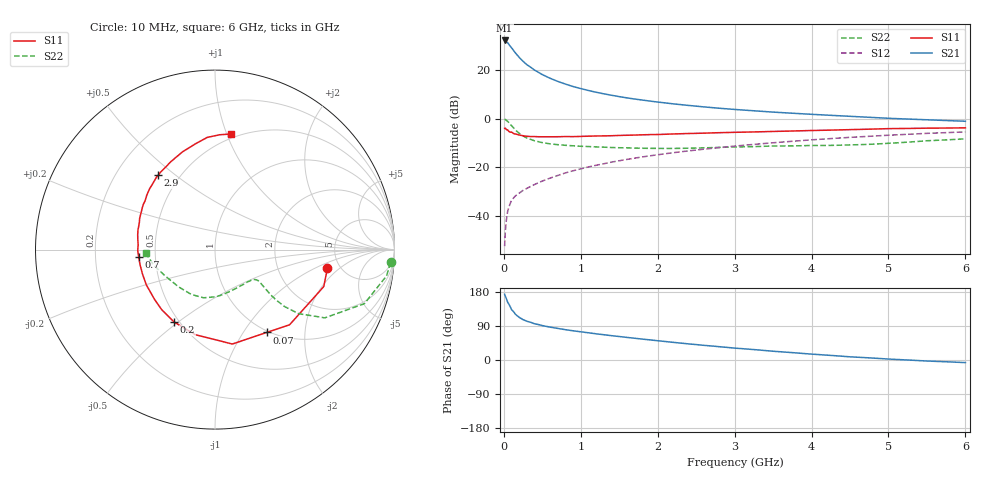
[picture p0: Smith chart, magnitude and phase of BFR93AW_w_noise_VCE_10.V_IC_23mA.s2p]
! Infineon Technologies  Discrete & RF Semiconductors
! BFR93AW
! VCE =  10. V,  IC =  23 mA
! Common Emitter S-Parameters:  Jan 2017
# GHz  S  MA  R  50
!  f  S11  S21  S12  S22
! GHz  MAG  ANG  MAG  ANG  MAG  ANG  MAG  ANG
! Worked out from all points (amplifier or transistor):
!   77 points, 10 MHz to 6 GHz, reference 50 ohm
!   highest |S21| = 32.2 dB at 10 MHz (marker M1)
!   |S21| within 3 dB of that: start of sweep to 100 MHz
!   unconditionally stable (mu >= 1): 669.5 MHz to 2.078 GHz
!   at 130 MHz: K = 0.45, MSG = 30.2 dB, |S12| = -32.4 dB
!   at 2.2 GHz: K = 0.99, MSG = 10.1 dB, |S12| = -14.0 dB
!   at 6 GHz: K = 0.86, MSG = 2.2 dB, |S12| = -5.4 dB
!   lowest NFmin = 1.60 dB at 450 MHz
!   S11 on the Smith chart (normalised r, x): 10 MHz: 3.97, -1.38; 70 MHz: 0.98, -1.28; 200 MHz: 0.47, -0.48; 700 MHz: 0.40, -0.04; 2.9 GHz: 0.38, +0.43; 6 GHz: 0.46, +1.04
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0.01  0.6352 -9.4  40.76 173.5  0.0024 84.2  0.9807 -4.2
0.02  0.6399 -18.8  40.49 168.1  0.005 83.8  0.9671 -8.7
0.05  0.59 -45.2  36.55 152.4  0.0126 73.2  0.8854 -19.9
0.07  0.5441 -58.0  33.04 145.8  0.0159 67.3  0.8151 -24.1
0.1  0.5349 -79.6  28.85 133.1  0.021 62.0  0.7198 -31.9
0.15  0.4865 -103.1  22.63 120.8  0.0259 57.5  0.5885 -37.4
0.2  0.4632 -119.5  18.24 112.5  0.0296 58.1  0.5009 -39.3
0.25  0.4476 -131.5  15.2 106.5  0.0337 57.6  0.4431 -39.5
0.3  0.4364 -140.5  12.92 102.2  0.0371 59.3  0.401 -39.1
0.4  0.4302 -153.0  9.987 95.6  0.0445 61.9  0.3518 -37.7
0.5  0.4262 -161.9  8.091 90.8  0.0524 64.1  0.3231 -36.6
0.6  0.426 -169.2  6.814 86.8  0.0602 65.7  0.3052 -36.0
0.7  0.4271 -174.4  5.873 83.4  0.0681 67.6  0.2935 -35.7
0.9  0.429 176.4  4.603 77.1  0.0852 68.2  0.278 -36.9
1.1  0.4384 169.2  3.815 71.8  0.1021 68.6  0.2683 -39.1
1.5  0.4542 157.6  2.851 62.0  0.1369 68.1  0.2537 -46.4
2.1  0.4804 143.2  2.116 48.8  0.191 64.9  0.2454 -62.7
2.9  0.5216 127.4  1.6 33.3  0.2645 58.7  0.2603 -87.1
3.1  0.5299 123.6  1.516 29.9  0.2831 56.9  0.2645 -92.7
4.1  0.5778 106.9  1.211 14.2  0.3774 47.4  0.2821 -121.1
5.1  0.6287 92.7  1.008 1.5  0.4667 36.6  0.3194 -154.8
6  0.6506 82.0  0.888 -6.9  0.5374 26.3  0.3868 -177.3
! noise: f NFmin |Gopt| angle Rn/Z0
0.45  1.6  0.15  166  0.15
0.9  1.88  0.24  177  0.16
1.9  2.89  0.48  -138  0.24
2.4  3.53  0.55  -126  0.48
